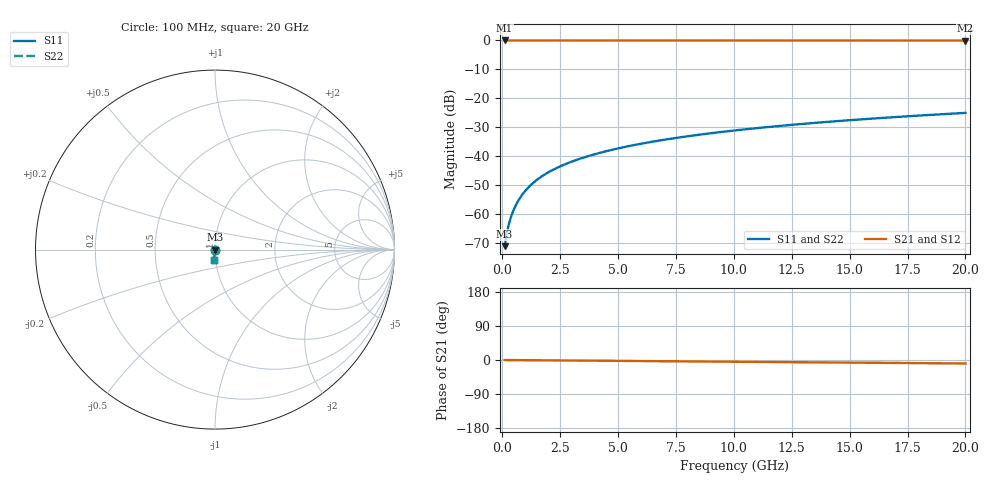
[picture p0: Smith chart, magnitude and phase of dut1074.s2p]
! Touchstone file exported from HFSS 2026.1.0
!  File:  C:/ffzhzh/LocalFiles/Ansys_Project_Files/temp_train_TSV_1074_1783189998_22436.aedt
!  Generated:  02:34:51 AM Jul  5, 2026
!  Design:  TSV
!  Project:  temp_train_TSV_1074_1783189998_22436
! Variables:
!  h_bsmrdl = 2um
!  h_ox = 20um
!  h_rdl = 5um
!  h_sub = 92.42um
!  h_tmrdl = 5um
!  h_tsv = 92.42um
!  h_via = 3um
!  l_bsmrdl = 300um
!  l_sub = 418.56um
!  l_tmrdl = 200um
!  m_sub = 200um
!  pitch = 27.31um
!  r_tsv = 9.28um
!  s_tmrdl = 10um
!  w_bsmrdl = 18um
!  w_sub = 500um
!  w_tmrdl = 12um
!  x_tsv_center1 = 206um
!  x_tsv_center2 = 524um
!  x_tsv_center3 = 736um
!  x_tsv_center4 = 1054um
!  x_tsv_center5 = 1266um
!  x_tsv_center6 = 1584um
# GHz S MA R 50.000000
! Terminal data exported
! Port[1] = TSV1_1_T1
! Port[2] = TSV1_1_T2
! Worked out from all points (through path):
!   200 points, 100 MHz to 20 GHz, reference 50 ohm
!   highest |S21| = 0.00 dB at 100 MHz (marker M1); lowest = 0.0 dB at 20 GHz (marker M2)
!   group delay of S21, straight-line fit = 1.27 ps
!   lowest |S11| = -71.1 dB at 100 MHz (marker M3), VSWR 1.00, Z = 50 - j0.0219 ohm
!   |S11| at or under -10 dB: start of sweep to end of sweep
!   |S22| runs from -71.1 to -25.0 dB; largest |S21 - S12| = 3e-15
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0.1  0.0002789 -51.7  0.9998 -0.0  0.9998 -0.0  0.0002789 -51.7
! Gamma 0 0 0 0
! Port Impedance 50 0 50 0
0.2  0.0004827 -66.6  0.9998 -0.1  0.9998 -0.1  0.0004827 -66.6
0.3  0.0007105 -72.0  0.9998 -0.1  0.9998 -0.1  0.0007105 -72.0
0.4  0.0009523 -74.7  0.9997 -0.2  0.9997 -0.2  0.0009523 -74.7
0.5  0.001205 -76.3  0.9997 -0.2  0.9997 -0.2  0.001205 -76.3
0.7  0.001731 -78.5  0.9996 -0.3  0.9996 -0.3  0.001731 -78.5
0.8  0.002 -79.4  0.9996 -0.4  0.9996 -0.4  0.002 -79.4
1  0.002546 -80.8  0.9996 -0.5  0.9996 -0.5  0.002546 -80.8
1.2  0.003096 -81.9  0.9995 -0.6  0.9995 -0.6  0.003096 -81.9
1.4  0.003647 -82.8  0.9995 -0.7  0.9995 -0.7  0.003647 -82.8
1.7  0.004475 -83.9  0.9994 -0.8  0.9994 -0.8  0.004475 -83.9
2  0.005302 -84.7  0.9994 -0.9  0.9994 -0.9  0.005302 -84.7
2.7  0.007235 -86.1  0.9993 -1.3  0.9993 -1.3  0.007235 -86.1
3.5  0.009452 -87.2  0.9992 -1.6  0.9992 -1.6  0.009452 -87.2
4.2  0.0114 -87.9  0.9991 -1.9  0.9991 -1.9  0.0114 -87.9
5  0.01364 -88.6  0.999 -2.3  0.999 -2.3  0.01364 -88.6
6.8  0.0187 -89.9  0.9988 -3.1  0.9988 -3.1  0.0187 -89.9
8.3  0.02294 -90.9  0.9986 -3.8  0.9986 -3.8  0.02294 -90.9
10.1  0.02804 -92.0  0.9983 -4.6  0.9983 -4.6  0.02804 -92.0
13.4  0.03737 -93.9  0.9978 -6.1  0.9978 -6.1  0.03737 -93.9
16.7  0.0467 -95.6  0.9973 -7.6  0.9973 -7.6  0.0467 -95.6
20  0.05602 -97.3  0.9966 -9.1  0.9966 -9.1  0.05602 -97.3
